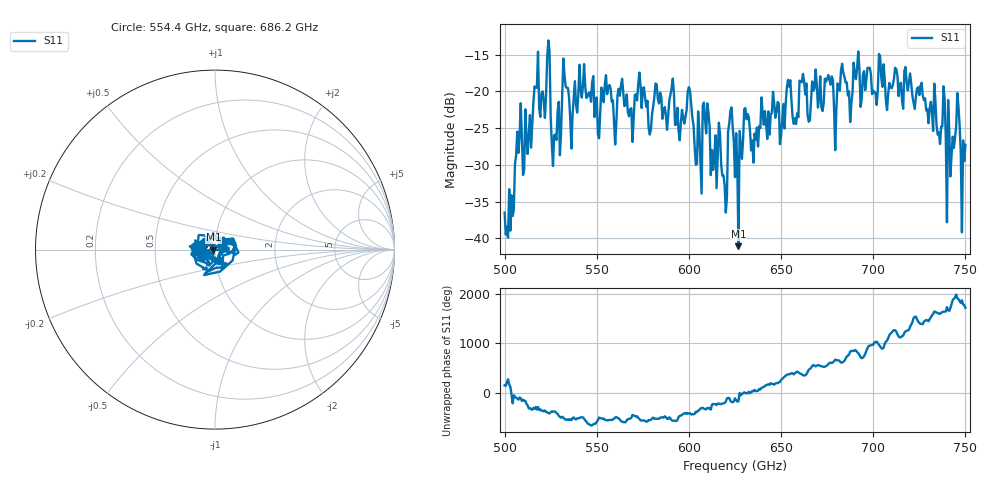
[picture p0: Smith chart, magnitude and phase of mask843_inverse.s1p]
!Created with skrf (http://scikit-rf.org).
# GHz S MA R 50.0
!freq magS11 angS11
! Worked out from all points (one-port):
!   401 points, 500 GHz to 750 GHz, reference 50 ohm
!   lowest |S11| = -41.1 dB at 626.9 GHz (marker M1), VSWR 1.02, Z = 49.1 - j0.0964 ohm
!   |S11| at or under -10 dB: start of sweep to end of sweep
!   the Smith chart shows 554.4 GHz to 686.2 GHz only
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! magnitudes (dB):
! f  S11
! 500 GHz  -36.5
! 516.9 GHz  -19.5
! 523.8 GHz  -13.1
! 526.9 GHz  -26.0
! 531.2 GHz  -20.5
! 562.5 GHz  -20.6
! 579.4 GHz  -25.2
! 590.6 GHz  -19.5
! 593.8 GHz  -22.2
! 600 GHz  -19.4
! 605.6 GHz  -25.3
! 609.4 GHz  -25.7
! 619.4 GHz  -32.8
! 622.5 GHz  -22.7
! 625 GHz  -31.7
! 626.9 GHz  -41.1
! 631.2 GHz  -23.8
! 635 GHz  -29.7
! 656.2 GHz  -23.5
! 680 GHz  -22.3
! 683.8 GHz  -17.5
! 687.5 GHz  -24.2
! 690.6 GHz  -18.3
! 718.8 GHz  -19.9
! 738.1 GHz  -19.3
! 741.2 GHz  -25.4
! 745.6 GHz  -20.2
! 750 GHz  -27.3
